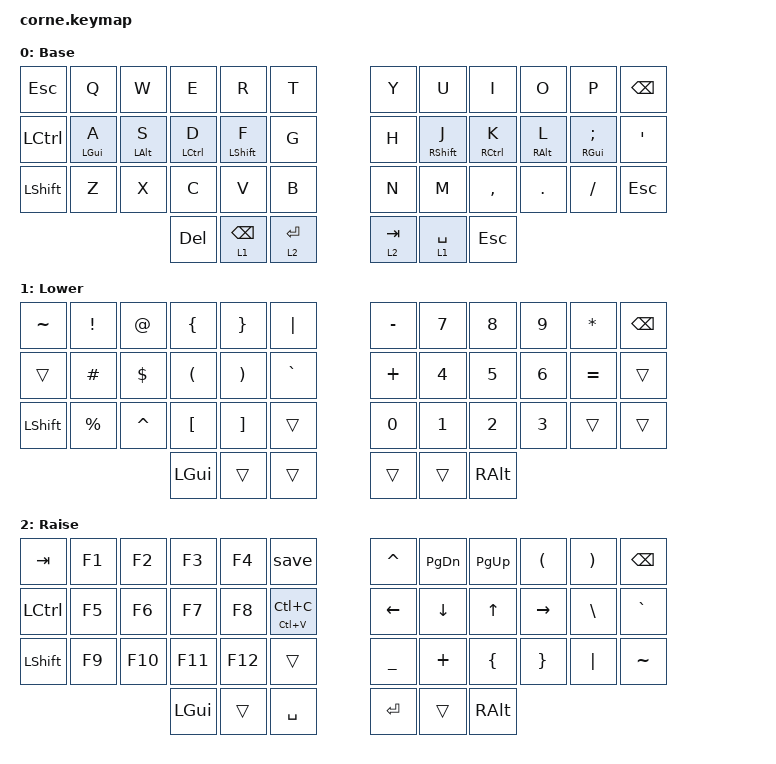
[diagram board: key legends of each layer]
/*
 * Copyright (c) 2020 The ZMK Contributors
 *
 * SPDX-License-Identifier: MIT
 */

#include <behaviors.dtsi>
#include <dt-bindings/zmk/keys.h>

/ {
    behaviors {
        hml: homewrow_mods_left {
            compatible = "zmk,behavior-hold-tap";
            label = "HOMEROW_MODS_LEFT_HAND";
            bindings = <&kp>, <&kp>;

            #binding-cells = <2>;
            tapping-term-ms = <280>;
            flavor = "balanced";
            quick-tap-ms = <175>;
            require-prior-idle-ms = <150>;
            hold-trigger-key-positions = <6 7 8 9 10 11 18 19 20 21 22 23 30 31 32 33 34 35 39 40 41>;
        };

        hmr: homewrow_mods_right {
            compatible = "zmk,behavior-hold-tap";
            label = "HOMEROW_MODS_RIGHT_HAND";
            bindings = <&kp>, <&kp>;

            #binding-cells = <2>;
            tapping-term-ms = <280>;
            quick-tap-ms = <175>;
            require-prior-idle-ms = <150>;
            flavor = "balanced";
            hold-trigger-key-positions = <0 1 2 3 4 5 12 13 14 15 16 17 24 25 26 27 28 29 36 37 38>;
        };

        hm: homerow_mods {
            compatible = "zmk,behavior-hold-tap";
            label = "HOMEROW_MODS";
            bindings = <&kp>, <&kp>;

            #binding-cells = <2>;
            tapping-term-ms = <200>;
            quick-tap-ms = <200>;
            require-prior-idle-ms = <125>;
            flavor = "tap-preferred";
        };
    };

    macros {
        save: save {
            compatible = "zmk,behavior-macro";
            #binding-cells = <0>;
            bindings = <&kp ESCAPE &kp COLON &kp W &kp ENTER>;
            label = "SAVE";
        };
    };

    keymap {
        compatible = "zmk,keymap";

        home {
            // -----------------------------------------------------------------------------------------
            // |  TAB |  Q  |  W  |  E  |  R  |  T  |   |  Y  |  U   |  I  |  O  |  P  | BKSP |
            // | CTRL |  A  |  S  |  D  |  F  |  G  |   |  H  |  J   |  K  |  L  |  ;  |  '   |
            // | SHFT |  Z  |  X  |  C  |  V  |  B  |   |  N  |  M   |  ,  |  .  |  /  | ESC  |
            //                    | GUI | LWR | SPC |   | ENT | RSE  | ALT |

            display-name = "Base";
            bindings = <
&kp ESCAPE  &kp Q            &kp W            &kp E                &kp R              &kp T          &kp Y      &kp U               &kp I                 &kp O             &kp P                     &kp BSPC
&kp LCTRL   &hml LEFT_GUI A  &hml LEFT_ALT S  &hml LEFT_CONTROL D  &hml LEFT_SHIFT F  &kp G          &kp H      &hmr RIGHT_SHIFT J  &hmr RIGHT_CONTROL K  &hmr RIGHT_ALT L  &hmr RIGHT_GUI SEMICOLON  &kp SQT
&kp LSHFT   &kp Z            &kp X            &kp C                &kp V              &kp B          &kp N      &kp M               &kp COMMA             &kp DOT           &kp FSLH                  &kp ESC
                                              &kp DELETE           &lt 1 BACKSPACE    &lt 2 ENTER    &lt 2 TAB  &lt 1 SPACE         &kp ESCAPE
            >;
        };

        num {
            // -----------------------------------------------------------------------------------------
            // |  TAB |  1  |  2  |  3  |  4  |  5  |   |  6  |  7  |  8  |  9  |  0  | BKSP |
            // | BTCLR| BT1 | BT2 | BT3 | BT4 | BT5 |   | LFT | DWN |  UP | RGT |     |      |
            // | SHFT |     |     |     |     |     |   |     |     |     |     |     |      |
            //                    | GUI |     | SPC |   | ENT |     | ALT |

            display-name = "Lower";
            bindings = <
&kp TILDE  &kp EXCLAMATION  &kp AT      &kp LEFT_BRACE        &kp RIGHT_BRACE        &kp PIPE     &kp MINUS  &kp N7        &kp N8        &kp N9        &kp ASTERISK  &kp BSPC
&trans     &kp HASH         &kp DOLLAR  &kp LEFT_PARENTHESIS  &kp RIGHT_PARENTHESIS  &kp GRAVE    &kp PLUS   &kp NUMBER_4  &kp N5        &kp NUMBER_6  &kp EQUAL     &trans
&kp LSHFT  &kp PERCENT      &kp CARET   &kp LEFT_BRACKET      &kp RIGHT_BRACKET      &trans       &kp N0     &kp NUMBER_1  &kp NUMBER_2  &kp NUMBER_3  &trans        &trans
                                        &kp LGUI              &trans                 &trans       &trans     &trans        &kp RALT
            >;
        };

        nav {
            // -----------------------------------------------------------------------------------------
            // |  TAB |  !  |  @  |  #  |  $  |  %  |   |  ^  |  &  |  *  |  (  |  )  | BKSP |
            // | CTRL |     |     |     |     |     |   |  -  |  =  |  [  |  ]  |  \  |  `   |
            // | SHFT |     |     |     |     |     |   |  _  |  +  |  {  |  }  | "|" |  ~   |
            //                    | GUI |     | SPC |   | ENT |     | ALT |

            display-name = "Raise";
            bindings = <
&kp TAB    &kp F1  &kp F2   &kp F3    &kp F4   &save              &kp CARET  &kp PAGE_DOWN  &kp PAGE_UP   &kp LPAR   &kp RPAR  &kp BSPC
&kp LCTRL  &kp F5  &kp F6   &kp F7    &kp F8   &hm LC(V) LC(C)    &kp LEFT   &kp DOWN       &kp UP_ARROW  &kp RIGHT  &kp BSLH  &kp GRAVE
&kp LSHFT  &kp F9  &kp F10  &kp F11   &kp F12  &trans             &kp UNDER  &kp PLUS       &kp LBRC      &kp RBRC   &kp PIPE  &kp TILDE
                            &kp LGUI  &trans   &kp SPACE          &kp RET    &trans         &kp RALT
            >;
        };
    };
};
